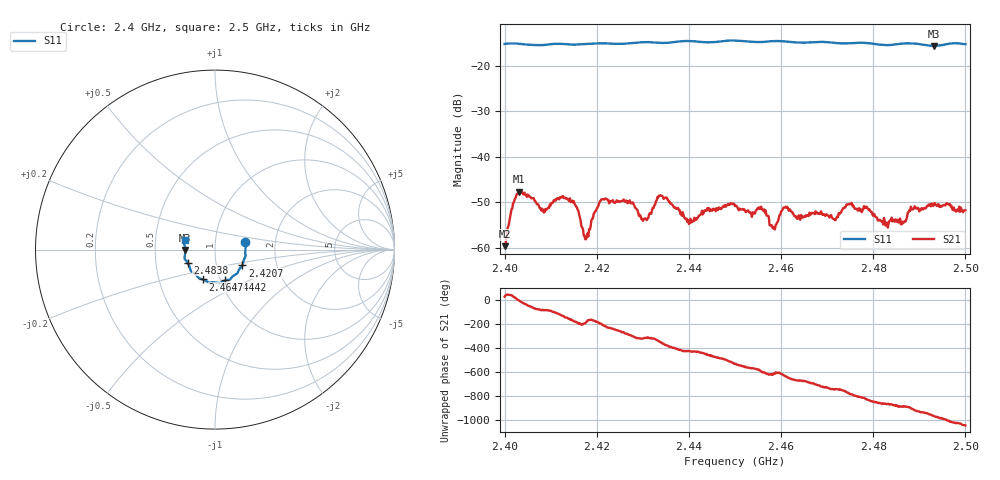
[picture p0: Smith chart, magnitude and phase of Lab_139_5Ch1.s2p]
# Hz S RI R
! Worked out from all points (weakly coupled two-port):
!   601 points, 2.4 GHz to 2.5 GHz, reference 50 ohm
!   highest |S21| = -47.71 dB at 2.4032 GHz (marker M1); lowest = -59.7 dB at 2.4 GHz (marker M2)
!   lowest |S11| = -15.6 dB at 2.4932 GHz (marker M3), VSWR 1.40, Z = 35.8 - j0.139 ohm
!   |S11| at or under -10 dB: start of sweep to end of sweep
!   S12 and S22 are empty: the file has one direction only
!   S11 on the Smith chart (normalised r, x): 2.4 GHz: 1.40, +0.12; 2.4207 GHz: 1.33, -0.24; 2.4442 GHz: 1.05, -0.37; 2.4647 GHz: 0.83, -0.29; 2.4838 GHz: 0.73, -0.11; 2.5 GHz: 0.71, +0.07
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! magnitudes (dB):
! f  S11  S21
! 2.4 GHz  -15.2  -59.7
! 2.4032 GHz  -15.2  -47.7
! 2.4085 GHz  -15.4  -52.3
! 2.4137 GHz  -15.3  -49.4
! 2.4167 GHz  -15.3  -55.3
! 2.418 GHz  -15.2  -56.9
! 2.4207 GHz  -15.1  -49.8
! 2.4273 GHz  -15.1  -50.2
! 2.4303 GHz  -14.8  -53.7
! 2.4333 GHz  -15.0  -49.0
! 2.4402 GHz  -14.6  -54.5
! 2.4442 GHz  -14.9  -51.7
! 2.45 GHz  -14.5  -50.9
! 2.4582 GHz  -14.6  -55.7
! 2.4608 GHz  -14.7  -51.1
! 2.4647 GHz  -14.9  -53.4
! 2.4667 GHz  -14.8  -52.4
! 2.4748 GHz  -15.1  -50.4
! 2.4833 GHz  -15.5  -54.6
! 2.4838 GHz  -15.4  -54.0
! 2.4932 GHz  -15.6  -50.4
! 2.5 GHz  -15.3  -51.8
